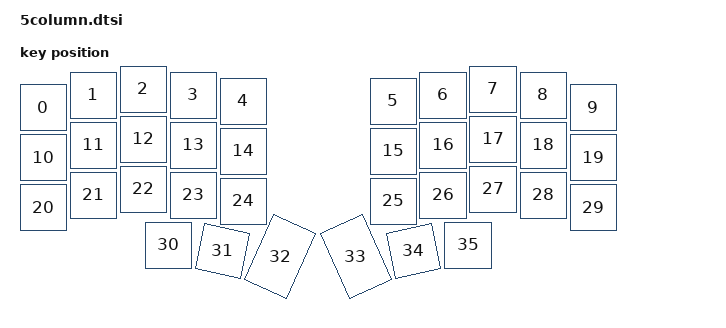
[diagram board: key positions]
#include <layouts/foostan/corne/position_map.dtsi>
#include <physical_layouts.dtsi>

/ {
    foostan_corne_5col_layout: foostan_corne_5col_layout {
        compatible = "zmk,physical-layout";
        display-name = "5 Column";

        keys  //                     w   h    x    y     rot    rx    ry
            = <&key_physical_attrs 100 100    0   37       0     0     0>
            , <&key_physical_attrs 100 100  100   12       0     0     0>
            , <&key_physical_attrs 100 100  200    0       0     0     0>
            , <&key_physical_attrs 100 100  300   12       0     0     0>
            , <&key_physical_attrs 100 100  400   24       0     0     0>
            , <&key_physical_attrs 100 100  700   24       0     0     0>
            , <&key_physical_attrs 100 100  800   12       0     0     0>
            , <&key_physical_attrs 100 100  900    0       0     0     0>
            , <&key_physical_attrs 100 100 1000   12       0     0     0>
            , <&key_physical_attrs 100 100 1100   37       0     0     0>
            , <&key_physical_attrs 100 100    0  137       0     0     0>
            , <&key_physical_attrs 100 100  100  112       0     0     0>
            , <&key_physical_attrs 100 100  200  100       0     0     0>
            , <&key_physical_attrs 100 100  300  112       0     0     0>
            , <&key_physical_attrs 100 100  400  124       0     0     0>
            , <&key_physical_attrs 100 100  700  124       0     0     0>
            , <&key_physical_attrs 100 100  800  112       0     0     0>
            , <&key_physical_attrs 100 100  900  100       0     0     0>
            , <&key_physical_attrs 100 100 1000  112       0     0     0>
            , <&key_physical_attrs 100 100 1100  137       0     0     0>
            , <&key_physical_attrs 100 100    0  237       0     0     0>
            , <&key_physical_attrs 100 100  100  212       0     0     0>
            , <&key_physical_attrs 100 100  200  200       0     0     0>
            , <&key_physical_attrs 100 100  300  212       0     0     0>
            , <&key_physical_attrs 100 100  400  224       0     0     0>
            , <&key_physical_attrs 100 100  700  224       0     0     0>
            , <&key_physical_attrs 100 100  800  212       0     0     0>
            , <&key_physical_attrs 100 100  900  200       0     0     0>
            , <&key_physical_attrs 100 100 1000  212       0     0     0>
            , <&key_physical_attrs 100 100 1100  237       0     0     0>
            , <&key_physical_attrs 100 100  250  312       0     0     0>
            , <&key_physical_attrs 100 100  350  312    1200   350   412>
            , <&key_physical_attrs 100 150  448  283    2400   448   433>
            , <&key_physical_attrs 100 150  652  283  (-2400)  752   433>
            , <&key_physical_attrs 100 100  750  312  (-1200)  850   412>
            , <&key_physical_attrs 100 100  850  312       0     0     0>
        ;
    };
};

&layouts_foostan_corne_position_map {
    foostan_corne_5col_posmap: five {
        physical-layout = <&foostan_corne_5col_layout>;
        positions
            = <36  0  1  2  3  4  5  6  7  8  9 37>
            , <38 10 11 12 13 14 15 16 17 18 19 39>
            , <40 20 21 22 23 24 25 26 27 28 29 41>
            , <         30 31 32 33 34 35         >;
    };
};
